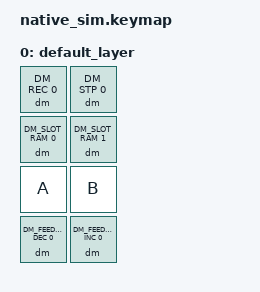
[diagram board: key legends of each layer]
#include <dt-bindings/zmk/keys.h>
#include <behaviors.dtsi>
#include <dt-bindings/zmk/kscan_mock.h>
#include <behaviors/dynamic_macro.dtsi>
#include <dt-bindings/zmk/dynamic_macros.h>

&kscan {
    rows = <4>;
    columns = <2>;
    exit-after;
    events = <
        /* DM_FEEDBACK_DEC: BASIC -> ERROR (types "[DM FB:ERROR]") */
        ZMK_MOCK_PRESS(3,0,10)
        ZMK_MOCK_RELEASE(3,0,2000)
        /* Record A then stop, assign to slot 0 — at ERROR level, no confirmation feedback */
        ZMK_MOCK_PRESS(0,0,10)
        ZMK_MOCK_RELEASE(0,0,10)
        ZMK_MOCK_PRESS(2,0,10)
        ZMK_MOCK_RELEASE(2,0,10)
        ZMK_MOCK_PRESS(0,1,10)
        ZMK_MOCK_RELEASE(0,1,10)
        ZMK_MOCK_PRESS(1,0,10)
        ZMK_MOCK_RELEASE(1,0,2000)
        /* DM_FEEDBACK_INC: ERROR -> BASIC (types "[DM FB:BASIC]") */
        ZMK_MOCK_PRESS(3,1,10)
        ZMK_MOCK_RELEASE(3,1,2000)
        /* Play slot 0 */
        ZMK_MOCK_PRESS(1,0,2000)
        ZMK_MOCK_RELEASE(1,0,10)
    >;
};

/ {
    keymap {
        compatible = "zmk,keymap";
        default_layer {
            bindings = <
                &dm DM_REC 0           &dm DM_STP 0
                &dm DM_SLOT_RAM 0      &dm DM_SLOT_RAM 1
                &kp A                  &kp B
                &dm DM_FEEDBACK_DEC 0  &dm DM_FEEDBACK_INC 0
            >;
        };
    };
};
